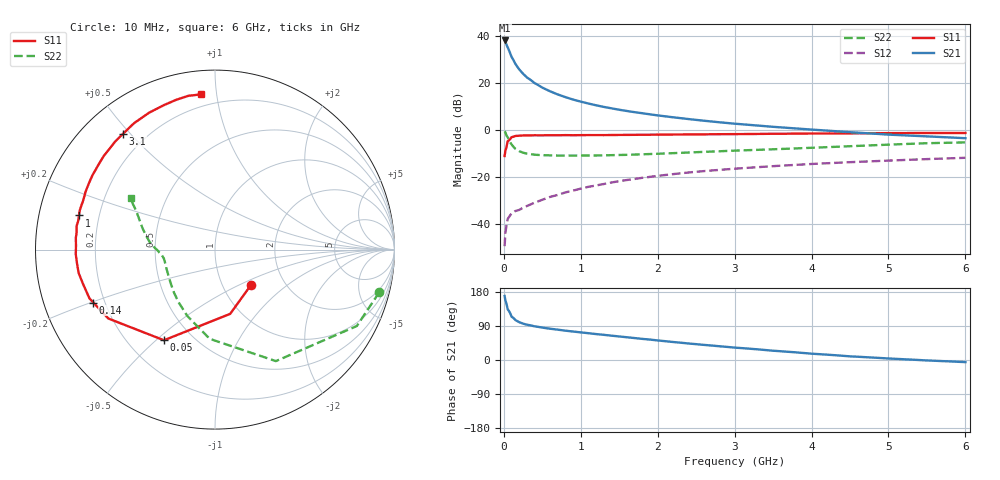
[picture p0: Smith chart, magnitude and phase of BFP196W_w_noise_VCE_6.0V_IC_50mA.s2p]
! Infineon Technologies  Discrete & RF Semiconductors
! BFP196W
! VCE =  6.0 V,  IC =  50 mA
! Common Emitter S-Parameters:  Jan 2017
# GHz  S  MA  R  50
!  f  S11  S21  S12  S22
! GHz  MAG  ANG  MAG  ANG  MAG  ANG  MAG  ANG
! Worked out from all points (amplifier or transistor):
!   77 points, 10 MHz to 6 GHz, reference 50 ohm
!   highest |S21| = 38.1 dB at 10 MHz (marker M1)
!   |S21| within 3 dB of that: start of sweep to 50.88 MHz
!   unconditionally stable (mu >= 1): 666.1 MHz to 3.277 GHz
!   at 130 MHz: K = 0.42, MSG = 32.2 dB, |S12| = -34.8 dB
!   at 2.2 GHz: K = 1.04, MAG = 10.9 dB, |S12| = -18.7 dB
!   at 6 GHz: K = 0.93, MSG = 4.2 dB, |S12| = -11.8 dB
!   lowest NFmin = 1.36 dB at 450 MHz
!   S11 on the Smith chart (normalised r, x): 10 MHz: 1.36, -0.58; 50 MHz: 0.35, -0.53; 140 MHz: 0.16, -0.20; 1 GHz: 0.12, +0.12; 3.1 GHz: 0.12, +0.48; 6 GHz: 0.13, +0.91
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0.01  0.2812 -44.6  80.71 168.9  0.0034 80.5  0.9454 -14.6
0.02  0.3679 -76.7  76.43 157.6  0.0065 74.2  0.8977 -28.3
0.05  0.5797 -119.4  57.56 133.8  0.0128 50.0  0.7077 -61.4
0.1  0.7074 -147.1  36.18 114.4  0.0168 43.2  0.4978 -93.4
0.14  0.7394 -156.5  27.64 107.7  0.0186 41.6  0.4161 -108.1
0.15  0.7503 -158.7  25.59 105.4  0.019 41.3  0.401 -112.6
0.2  0.76 -165.5  19.55 99.8  0.0201 42.9  0.3566 -124.7
0.25  0.7704 -170.1  15.8 95.9  0.0223 44.7  0.3314 -133.5
0.3  0.7721 -173.3  13.22 93.2  0.0243 47.2  0.3155 -140.0
0.4  0.7762 -178.1  10.01 88.8  0.0285 52.3  0.3002 -148.8
0.5  0.7748 178.4  8.014 85.5  0.033 55.3  0.2932 -154.4
0.6  0.778 175.3  6.705 82.6  0.0379 56.8  0.2905 -158.5
0.7  0.7769 172.8  5.742 80.1  0.0418 60.6  0.2875 -161.5
0.8  0.7823 170.4  5.033 77.4  0.0473 61.0  0.2872 -163.7
1  0.7816 165.9  4.034 72.9  0.057 62.2  0.2873 -167.2
1.1  0.7845 163.8  3.675 70.7  0.0622 62.2  0.2886 -168.4
1.5  0.7898 156.1  2.71 62.1  0.082 61.4  0.2958 -173.2
2.1  0.802 144.8  1.964 49.6  0.1111 57.4  0.3187 -178.9
3.1  0.824 128.5  1.329 31.3  0.1549 49.3  0.3707 172.5
4.1  0.8473 114.3  1.001 15.4  0.1938 40.9  0.4271 162.5
5.1  0.8631 103.6  0.788 3.0  0.228 32.9  0.4977 153.1
6  0.8684 95.1  0.673 -5.6  0.2577 25.9  0.5482 148.2
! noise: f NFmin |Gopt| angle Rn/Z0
0.45  1.36  0.51  -177  0.05
0.9  1.48  0.55  -171  0.07
1.9  2.3  0.69  -149  0.16
2.4  2.7  0.73  -144  0.26
